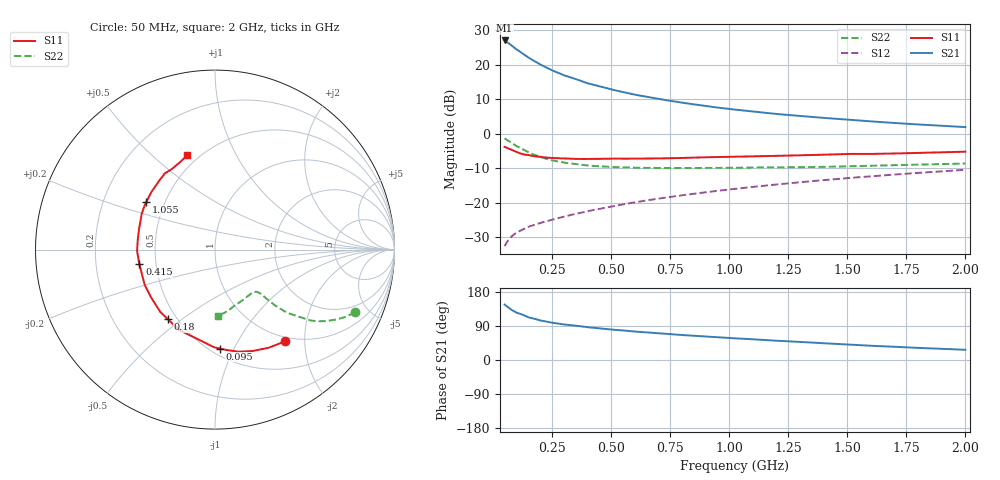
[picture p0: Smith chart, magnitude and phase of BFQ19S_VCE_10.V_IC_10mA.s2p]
! Infineon Technologies  Discrete & RF Semiconductors
! BFQ19S
! VCE =  10. V,  IC =  10 mA
! Common Emitter S-Parameters:  Jan 2016
# GHz  S  MA  R  50
!  f  S11  S21  S12  S22
! GHz  MAG  ANG  MAG  ANG  MAG  ANG  MAG  ANG
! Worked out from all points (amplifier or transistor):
!   391 points, 50 MHz to 2 GHz, reference 50 ohm
!   highest |S21| = 27.1 dB at 50 MHz (marker M1)
!   |S21| within 3 dB of that: start of sweep to 109.5 MHz
!   unconditionally stable (mu >= 1): 519.8 MHz to 1.415 GHz
!   at 375 MHz: K = 0.92, MSG = 19.1 dB, |S12| = -22.9 dB
!   at 1.025 GHz: K = 1.05, MAG = 10.2 dB, |S12| = -16.0 dB
!   at 2 GHz: K = 0.90, MSG = 6.2 dB, |S12| = -10.5 dB
!   S11 on the Smith chart (normalised r, x): 50 MHz: 0.93, -1.62; 95 MHz: 0.56, -0.88; 180 MHz: 0.45, -0.44; 415 MHz: 0.40, -0.08; 1.055 GHz: 0.40, +0.27; 2 GHz: 0.44, +0.65
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0.05  0.6439 -52.6  22.64 146.2  0.0232 67.2  0.8552 -24.1
0.06  0.623 -61.4  21.45 141.2  0.0266 64.4  0.8141 -27.6
0.07  0.6024 -69.8  20.25 136.5  0.0298 62.0  0.7726 -30.4
0.08  0.5832 -77.2  19.09 132.2  0.032 59.9  0.7338 -32.9
0.095  0.5526 -87.0  17.39 126.9  0.0354 57.6  0.6791 -35.8
0.1  0.5447 -90.4  16.85 125.1  0.0363 57.1  0.6618 -36.6
0.15  0.4904 -114.1  12.78 112.7  0.0442 53.8  0.5356 -41.2
0.18  0.4682 -124.2  11.17 108.2  0.0479 53.7  0.4893 -42.2
0.2  0.462 -131.3  10.14 104.5  0.0503 53.7  0.4586 -42.9
0.25  0.4445 -143.5  8.339 98.4  0.0561 55.0  0.4099 -43.5
0.3  0.438 -153.3  7.085 93.8  0.0621 56.0  0.3799 -43.7
0.375  0.4291 -163.8  5.823 88.6  0.0714 58.1  0.3531 -44.1
0.415  0.4291 -169.1  5.26 85.6  0.0764 59.0  0.3418 -44.5
0.5  0.4344 -178.8  4.397 80.4  0.0872 60.4  0.3281 -45.6
0.6  0.4338 173.3  3.696 75.1  0.1003 61.6  0.3193 -47.5
0.7  0.4373 166.4  3.197 70.5  0.1136 62.5  0.3173 -50.0
0.89  0.4532 154.5  2.552 62.3  0.1392 63.0  0.3175 -55.2
1.03  0.4641 146.5  2.229 57.1  0.1587 62.5  0.32 -59.4
1.055  0.4655 145.2  2.184 56.3  0.1622 62.4  0.3203 -60.1
1.35  0.4897 130.9  1.754 46.0  0.2043 60.8  0.3275 -68.7
1.675  0.5134 116.1  1.45 35.6  0.2511 57.8  0.3466 -77.7
2  0.548 106.3  1.247 26.9  0.2992 54.5  0.3686 -87.6
